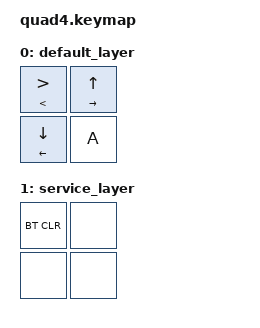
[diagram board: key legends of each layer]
#include <behaviors.dtsi>
#include <dt-bindings/zmk/keys.h>
#include <dt-bindings/zmk/bt.h>

/ {
    behaviors {
        /* Definicja zachowania: trzymanie = pierwszy klawisz, kliknięcie = drugi klawisz */
        ht_kp: hold_tap_kp {
            compatible = "zmk,behavior-hold-tap";
            label = "HOLD_TAP_KP";
            #binding-cells = <2>;
            tapping-term-ms = <400>;    // Czas przytrzymania (0.4 sekundy)
            flavor = "tap-preferred";
            bindings = <&kp>, <&kp>;
        };

        /* Zachowanie dla wejścia w warstwę serwisową (zostawiamy, żebyś mógł czyścić BT) */
        layer_up: layer_up {
            compatible = "zmk,behavior-hold-tap";
            label = "LAYER_UP";
            #binding-cells = <2>;
            tapping-term-ms = <1000>;   // Dłuższe przytrzymanie (1 sekunda), by wejść w ustawienia
            flavor = "tap-preferred";
            bindings = <&mo>, <&kp>;
        };
    };

    keymap {
        compatible = "zmk,keymap";

        default_layer {
            bindings = <
                /* Lewy Górny: Klik = LEFT, Przytrzymanie = Nic (możesz tu coś dodać) */
                &ht_kp LT GT         &ht_kp RIGHT UP
                
                /* Lewy Dolny: Klik = DOWN, Przytrzymanie = LEFT */
                &ht_kp LEFT DOWN  &kp A
            >;
        };

        service_layer {
            bindings = <
                &bt BT_CLR  &none
                &none       &none
            >;
        };
    };
};
